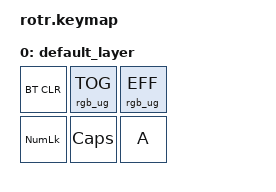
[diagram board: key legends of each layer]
#include <behaviors.dtsi>
#include <dt-bindings/zmk/keys.h>
#include <dt-bindings/zmk/bt.h>
#include <dt-bindings/zmk/rgb.h>

/ {
    keymap {
    compatible = "zmk,keymap";

    default_layer {
      bindings = <
        &bt BT_CLR      &rgb_ug RGB_TOG   &rgb_ug RGB_EFF
        &kp KP_NUMLOCK  &kp CAPSLOCK      &kp A
      >;
    };
  };
};
